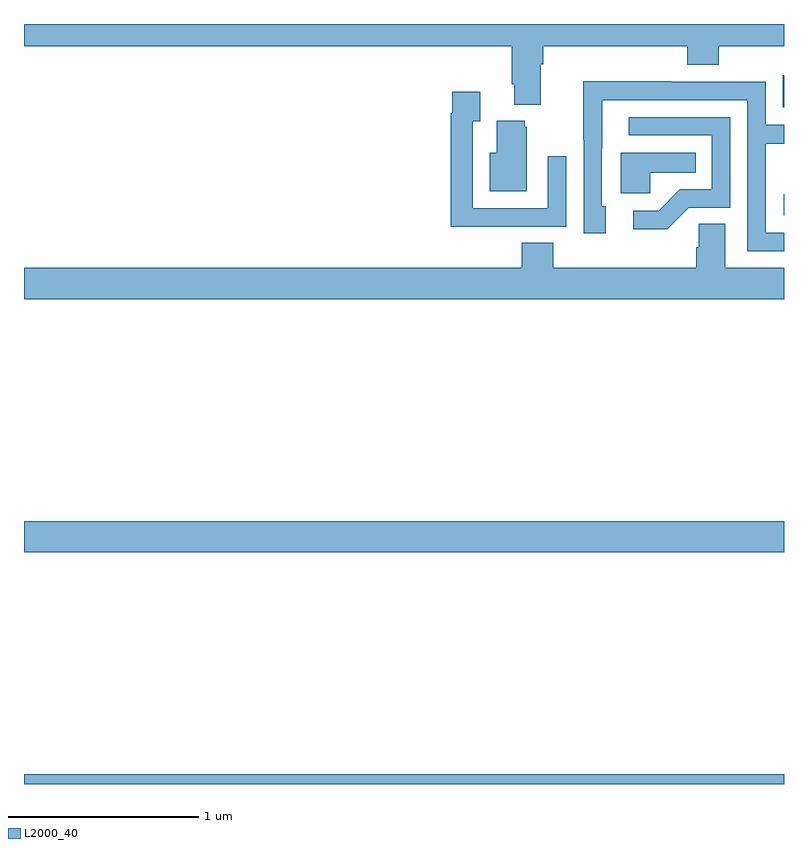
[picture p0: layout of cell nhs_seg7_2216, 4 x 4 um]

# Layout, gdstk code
import gdstk
lib = gdstk.Library(unit=1e-6, precision=1e-09)
def R(c, l, rs):  # rectangles x0, y0, x1, y1
    for r in rs: c.add(gdstk.rectangle(r[:2], r[2:], *l))
def P(c, l, *ps):  # polygons
    for p in ps: c.add(gdstk.Polygon(p, *l))
L2000_40 = (2000, 40)

nhs_seg7_2216 = lib.new_cell('nhs_seg7_2216')
R(nhs_seg7_2216, L2000_40, [(255,1062,259,1062.052), (255,1063.22,259,1063.384), (258.999,1064.993,259,1065.103), (258.993,1065.561,259,1065.73)])
P(nhs_seg7_2216, L2000_40, [(257.719,1065.788),(257.732,1065.788),(257.732,1065.884),(258.491,1065.884),(258.491,1065.785),(258.656,1065.785),(258.656,1065.884),(259,1065.884),(259,1066),(255,1066),(255,1065.884),(257.567,1065.884),(257.567,1065.682),(257.579,1065.682),(257.579,1065.575),(257.719,1065.575)],
  [(259,1064.901),(258.903,1064.901),(258.903,1065.37),(259,1065.37),(259,1065.471),(258.903,1065.471),(258.903,1065.696),(258.407,1065.696),(258.407,1065.698),(257.944,1065.698),(257.944,1065.391),(257.946,1065.391),(257.946,1064.898),(258.061,1064.898),(258.061,1065.042),(258.042,1065.042),(258.042,1065.346),(258.043,1065.346),(258.043,1065.6),(258.807,1065.6),(258.807,1064.805),(259,1064.805)],
  [(257.537,1064.934),(257.853,1064.934),(257.853,1065.304),(257.757,1065.304),(257.757,1065.03),(257.361,1065.03),(257.361,1065.487),(257.401,1065.487),(257.401,1065.643),(257.253,1065.643),(257.253,1065.53),(257.245,1065.53),(257.245,1064.933),(257.537,1064.933)],
  [(258.498,1065.033),(258.717,1065.033),(258.717,1065.51),(258.183,1065.51),(258.183,1065.414),(258.621,1065.414),(258.621,1065.129),(258.452,1065.129),(258.341,1065.018),(258.207,1065.018),(258.207,1064.921),(258.385,1064.921)],
  [(257.647,1065.459),(257.636,1065.459),(257.636,1065.49),(257.489,1065.49),(257.489,1065.322),(257.45,1065.322),(257.45,1065.119),(257.647,1065.119)],
  [(258.297,1065.218),(258.536,1065.218),(258.536,1065.322),(258.14,1065.322),(258.14,1065.11),(258.297,1065.11)],
  [(259,1064.716),(258.691,1064.716),(258.691,1064.948),(258.552,1064.948),(258.552,1064.825),(258.539,1064.825),(258.539,1064.716),(257.786,1064.716),(257.786,1064.849),(257.621,1064.849),(257.621,1064.716),(255,1064.716),(255,1064.552),(259,1064.552)])

lib.write_gds('nhs_seg7_2216.gds')
